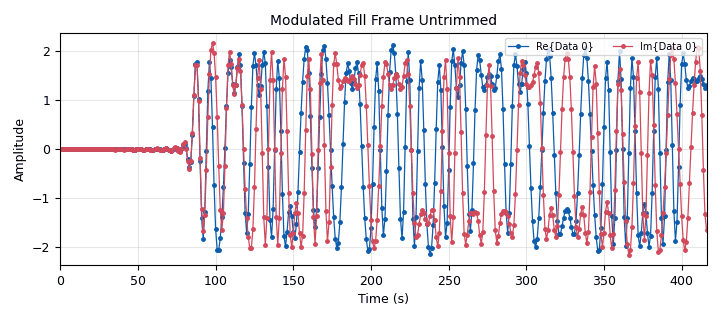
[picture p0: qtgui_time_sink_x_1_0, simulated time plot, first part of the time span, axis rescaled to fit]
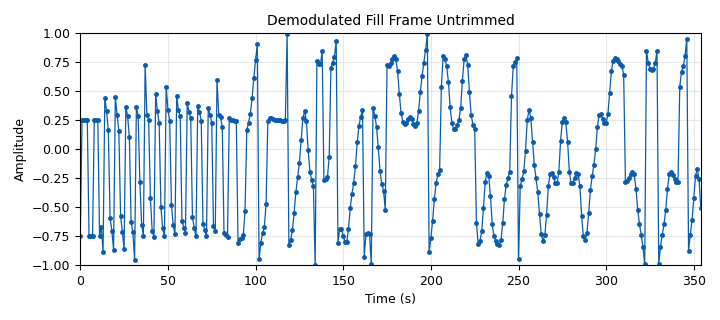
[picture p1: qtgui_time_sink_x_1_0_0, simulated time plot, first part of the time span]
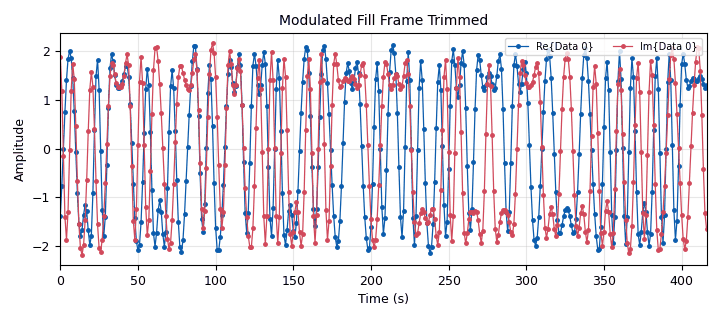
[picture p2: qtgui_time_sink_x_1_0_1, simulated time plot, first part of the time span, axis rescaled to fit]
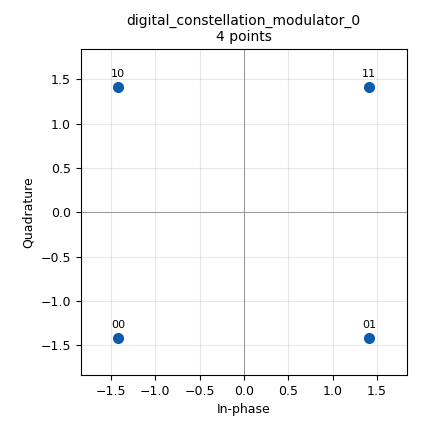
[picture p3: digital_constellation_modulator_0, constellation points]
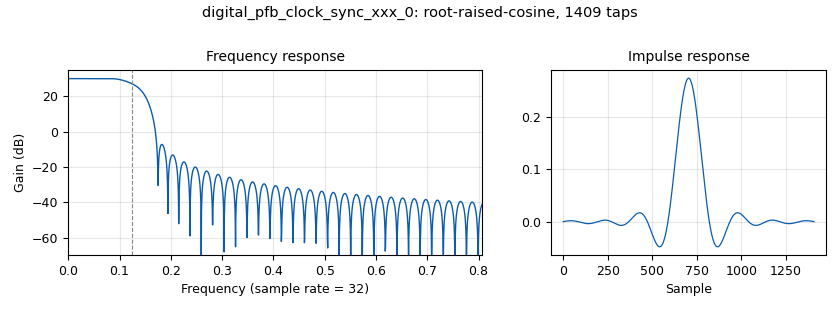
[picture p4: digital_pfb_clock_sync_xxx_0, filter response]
options:
  parameters:
    generate_options: qt_gui
    id: concatenated_qpsk_loopback
    output_language: python
  states: {}

blocks:
- name: R
  id: variable
  parameters:
    value: 1/2.
  states: {}
- name: arity
  id: variable
  parameters:
    value: 2**constel.bits_per_symbol()
  states: {}
- name: bps
  id: variable
  parameters:
    value: constel.bits_per_symbol()
  states: {}
- name: constel
  id: variable_constellation
  parameters:
    const_points: digital.psk_2()[0]
    precision: '8'
    soft_dec_lut: '''auto'''
    sym_map: digital.psk_2()[1]
    type: qpsk
  states: {}
- name: corr_sequence
  id: variable
  parameters:
    value: ((0.7071070075035095+0.7071070075035095j), (0.7071070075035095+0.7071070075035095j), (0.7071070075035095-0.7071070075035095j), (-0.7071070075035095+0.7071070075035095j), (-0.7071070075035095+0.7071070075035095j), (-0.7071070075035095+0.7071070075035095j), (-0.7071070075035095+0.7071070075035095j), (-0.7071070075035095-0.7071070075035095j), (0.7071070075035095+0.7071070075035095j), (-0.7071070075035095-0.7071070075035095j), (-0.7071070075035095-0.7071070075035095j), (0.7071070075035095+0.7071070075035095j), (0.7071070075035095+0.7071070075035095j), (-0.7071070075035095-0.7071070075035095j), (0.7071070075035095+0.7071070075035095j), (-0.7071070075035095+0.7071070075035095j), (-0.7071070075035095+0.7071070075035095j), (-0.7071070075035095-0.7071070075035095j), (-0.7071070075035095-0.7071070075035095j), (-0.7071070075035095-0.7071070075035095j), (0.7071070075035095-0.7071070075035095j), (-0.7071070075035095+0.7071070075035095j), (0.7071070075035095+0.7071070075035095j), (0.7071070075035095-0.7071070075035095j))
  states: {}
- name: corr_sequence_nodiff
  id: variable
  parameters:
    value: ((0.7071070075035095-0.7071070075035095j), (-0.7071070075035095-0.7071070075035095j), (-0.7071070075035095+0.7071070075035095j), (0.7071070075035095-0.7071070075035095j), (0.7071070075035095+0.7071070075035095j), (-0.7071070075035095-0.7071070075035095j), (-0.7071070075035095-0.7071070075035095j), (-0.7071070075035095+0.7071070075035095j), (0.7071070075035095-0.7071070075035095j), (-0.7071070075035095-0.7071070075035095j), (0.7071070075035095+0.7071070075035095j), (0.7071070075035095+0.7071070075035095j), (0.7071070075035095+0.7071070075035095j), (0.7071070075035095+0.7071070075035095j), (-0.7071070075035095-0.7071070075035095j), (-0.7071070075035095+0.7071070075035095j), (0.7071070075035095-0.7071070075035095j), (-0.7071070075035095+0.7071070075035095j), (-0.7071070075035095+0.7071070075035095j), (-0.7071070075035095-0.7071070075035095j), (0.7071070075035095-0.7071070075035095j), (-0.7071070075035095+0.7071070075035095j), (-0.7071070075035095+0.7071070075035095j), (0.7071070075035095+0.7071070075035095j))
  states: {}
- name: decoder_variable
  id: variable_cc_decoder_def
  parameters:
    framebits: 1279*0+80
    k: '7'
    mode: fec.CC_STREAMING
    ndim: '0'
    padding: 'False'
    polys: '[epy_tools.reverse_bits(0o171), epy_tools.reverse_bits(0o133)]'
    rate: int(1/R)
    state_end: '0'
    state_start: '0'
  states: {}
- name: delay
  id: variable_qtgui_range
  parameters:
    gui_hint: gui@0:2,1,1,1
    label: Delay
    rangeType: int
    start: '0'
    step: '1'
    stop: '200'
    value: '0'
  states: {}
- name: eb
  id: variable
  parameters:
    value: '0.35'
  states: {}
- name: enc_idle_frame_len
  id: variable
  parameters:
    value: len(encoded_concat_idle_frame_nodiff)
  states: {}
- name: encoded_concat_idle_frame
  id: variable
  parameters:
    value: encoded_concat_idle_frame_raw
  states: {}
- name: encoded_concat_idle_frame_nodiff
  id: variable
  parameters:
    value: encoded_concat_idle_frame_nodiff_raw
  states: {}
- name: encoded_concat_idle_frame_nodiff_raw
  id: variable
  parameters:
    value: (206, 63, 29, 152, 28, 218, 254, 27, 236, 65, 157, 23, 81, 250, 82, 133, 132, 198, 36, 229, 247, 173, 220, 138, 70, 171, 168, 215, 1, 66, 226, 193, 18, 90, 113, 86, 204, 237, 3, 127, 214, 67, 160, 35, 211, 72, 43, 39, 154, 33, 238, 124, 169, 149, 227, 131, 240, 155, 99, 12, 189, 187, 207, 146, 213, 60, 118, 96, 115, 107, 248, 111, 177, 6, 116, 93, 71, 233, 74, 22, 19, 24, 147, 151, 222, 183, 114, 41, 26, 174, 163, 92, 5, 11, 139, 4, 73, 105, 197, 91, 51, 180, 13, 255, 89, 14, 128, 143, 77, 32, 172, 158, 104, 135, 185, 242, 166, 87, 142, 15, 194, 109, 140, 50, 246, 239, 62, 75, 84, 241, 217, 129, 205, 175, 225, 190, 196, 25, 209, 117, 31, 165, 40, 88, 76, 98, 78, 95, 122, 221, 200, 164, 106, 186, 141, 112, 20, 46, 44, 17, 37, 167, 21, 108, 206, 208, 55, 253, 100, 58, 2, 61, 52, 130, 178, 121, 162, 30, 231, 202, 153, 94, 56, 63, 9, 182, 48, 203, 219, 188, 249, 45, 83, 199, 102, 7, 54, 191, 134, 251, 16, 103, 69, 212, 126, 148, 161, 97, 49, 137, 57, 125, 235, 119, 34, 145, 170, 234, 53, 192, 80, 184, 176, 68, 150, 156, 85, 179, 59, 64, 223, 245, 144, 232, 8, 244, 210, 10, 201, 230, 136, 123, 159, 42, 101, 120, 224, 252, 38, 216, 195, 47, 110, 243, 228, 181, 79, 29, 152, 28, 218, 254, 27, 236, 65, 157, 23, 81, 250, 82, 133, 132, 198, 36, 229, 247, 173, 220, 138, 70, 171, 168, 215, 1, 66, 226, 193, 18, 90, 113, 86, 204, 237, 3, 127, 214, 67, 160, 35, 211, 72, 43, 39, 154, 33, 238, 124, 169, 149, 227, 131, 240, 155, 99, 12, 189, 187, 207, 146, 213, 60, 118, 96, 115, 107, 248, 111, 177, 6, 116, 93, 71, 233, 74, 22, 19, 24, 147, 151, 222, 183, 114, 41, 26, 174, 163, 92, 5, 11, 139, 4, 73, 105, 197, 91, 51, 180, 13, 255, 89, 14, 128, 143, 77, 32, 172, 158, 104, 135, 185, 242, 166, 87, 142, 15, 194, 109, 140, 50, 246, 239, 62, 75, 84, 241, 217, 129, 205, 175, 225, 190, 196, 25, 209, 117, 31, 165, 40, 88, 76, 98, 78, 95, 122, 221, 200, 164, 106, 186, 141, 112, 20, 46, 44, 17, 37, 167, 21, 108, 206, 208, 55, 253, 100, 58, 2, 61, 52, 130, 178, 121, 162, 30, 231, 202, 153, 94, 56, 63, 9, 182, 48, 203, 219, 188, 249, 45, 83, 199, 102, 7, 54, 191, 134, 251, 16, 103, 69, 212, 126, 148, 161, 97, 49, 137, 57, 125, 235, 119, 34, 145, 170, 234, 53, 192, 80, 184, 176, 68, 150, 156, 85, 179, 59, 64, 223, 245, 144, 232, 8, 244, 210, 10, 201, 230, 136, 123, 159, 42, 101, 120, 224, 252, 38, 216, 195, 47, 110, 243, 228, 181, 79, 29, 152, 28, 218, 254, 27, 236, 65, 157, 23, 81, 250, 82, 133, 132, 198, 36, 229, 247, 173, 220, 138, 70, 171, 168, 215, 1, 66, 226, 193, 18, 90, 113, 86, 204, 237, 3, 127, 214, 67, 160, 35, 211, 72, 43, 39, 154, 33, 238, 124, 169, 149, 227, 131, 240, 155, 99, 12, 189, 187, 207, 146, 213, 60, 118, 96, 115, 107, 248, 111, 177, 6, 116, 93, 71, 233, 74, 22, 19, 24, 147, 151, 222, 183, 114, 41, 26, 174, 163, 92, 5, 11, 139, 4, 73, 105, 197, 91, 51, 180, 13, 255, 89, 14, 128, 143, 77, 32, 172, 158, 104, 135, 185, 242, 166, 87, 142, 15, 194, 109, 140, 50, 246, 239, 62, 75, 84, 241, 217, 129, 205, 175, 225, 190, 196, 25, 209, 117, 31, 165, 40, 88, 76, 98, 78, 95, 122, 221, 200, 164, 106, 186, 141, 112, 20, 46, 44, 17, 37, 167, 21, 108, 206, 208, 55, 253, 100, 58, 2, 61, 52, 130, 178, 121, 162, 30, 231, 202, 153, 94, 56, 63, 9, 182, 48, 203, 219, 188, 249, 45, 83, 199, 102, 7, 54, 191, 134, 251, 16, 103, 69, 212, 126, 148, 161, 97, 49, 137, 57, 125, 235, 119, 34, 145, 170, 234, 53, 192, 80, 184, 176, 68, 150, 156, 85, 179, 59, 64, 223, 245, 144, 232, 8, 244, 210, 10, 201, 230, 136, 123, 159, 42, 101, 120, 224, 252, 38, 216, 195, 47, 110, 243, 228, 181, 79, 29, 152, 28, 218, 254, 27, 236, 65, 157, 23, 81, 250, 82, 133, 132, 198, 36, 229, 247, 173, 220, 138, 70, 171, 168, 215, 1, 66, 226, 193, 18, 90, 113, 86, 204, 237, 3, 127, 214, 67, 160, 35, 211, 72, 43, 39, 154, 33, 238, 124, 169, 149, 227, 131, 240, 155, 99, 12, 189, 187, 207, 146, 213, 60, 118, 96, 115, 107, 248, 111, 177, 6, 116, 93, 71, 233, 74, 22, 19, 24, 147, 151, 222, 183, 114, 41, 26, 174, 163, 92, 5, 11, 139, 4, 73, 105, 197, 91, 51, 180, 13, 255, 89, 14, 128, 143, 77, 32, 172, 158, 104, 135, 185, 242, 166, 87, 142, 15, 194, 109, 140, 50, 246, 239, 62, 75, 84, 241, 217, 129, 205, 175, 225, 190, 196, 25, 209, 117, 31, 165, 40, 88, 76, 98, 78, 95, 122, 221, 200, 164, 106, 186, 141, 112, 20, 46, 44, 17, 37, 167, 21, 108, 206, 208, 55, 253, 100, 58, 2, 61, 52, 130, 178, 121, 162, 30, 231, 202, 153, 94, 56, 63, 9, 182, 48, 203, 219, 188, 249, 45, 83, 199, 102, 7, 54, 191, 134, 251, 16, 103, 69, 212, 126, 148, 161, 97, 49, 137, 57, 125, 235, 119, 34, 145, 170, 234, 53, 192, 80, 184, 176, 68, 150, 156, 85, 179, 59, 64, 223, 245, 144, 232, 8, 244, 210, 10, 201, 230, 136, 123, 159, 42, 101, 120, 224, 252, 38, 216, 195, 47, 110, 243, 228, 181, 79, 29, 152, 28, 218, 254, 27, 236, 65, 157, 23, 81, 250, 82, 133, 132, 198, 36, 229, 247, 173, 220, 138, 70, 171, 168, 215, 1, 66, 226, 193, 18, 90, 113, 86, 204, 237, 3, 127, 214, 67, 160, 35, 211, 72, 43, 39, 154, 33, 238, 124, 169, 149, 227, 131, 240, 155, 99, 12, 189, 187, 207, 146, 213, 60, 118, 96, 115, 107, 248, 111, 177, 6, 116, 93, 71, 233, 74, 22, 19, 24, 147, 151, 222, 183, 114, 41, 26, 174, 163, 92, 5, 11, 139, 4, 73, 105, 197, 91, 51, 180, 13, 255, 89, 14, 128, 143, 77, 32, 172, 158, 104, 135, 185, 242, 166, 87, 142, 15, 194, 109, 140, 50, 246, 239, 62, 75, 84, 241, 217, 129, 205, 175, 225, 190, 196, 25, 209, 117, 31, 165, 40, 88, 76, 98, 78, 95, 122, 221, 200, 164, 106, 186, 141, 112, 20, 46, 44, 17, 37, 167, 21, 108, 206, 208, 55, 253, 100, 58, 2, 61, 52, 130, 178, 121, 162, 30, 231, 202, 153, 94, 56, 63, 9, 182, 48, 203, 219, 188, 249, 45, 83, 199, 102, 7, 54, 191, 134, 251, 16, 103, 69, 212, 126, 148, 161, 97, 49, 137, 57, 125, 235, 119, 34, 145, 170, 234, 53, 192, 80, 184, 176, 68, 150, 156, 85, 179, 59, 64, 223, 245, 144, 232, 8, 244, 210, 10, 201, 230, 136, 123, 159, 42, 101, 120, 224, 252, 38, 216, 195, 47, 110, 243, 228, 181, 79, 29, 152, 28, 218, 254, 27, 236, 65, 157, 23, 81, 250, 82, 133, 132, 198, 36, 229, 247, 173, 220, 138, 70, 171, 168, 215, 1, 66, 226, 193, 18, 90, 113, 86, 204, 237, 3, 127, 214, 67, 160, 35, 211, 72, 43, 39, 154, 33, 238, 124, 169, 149, 227, 131, 240, 155, 99, 12, 189, 187, 207, 146, 213, 60, 118, 96, 115, 107, 248, 111, 177, 6, 116, 93, 71, 233, 74, 22, 19, 24, 147, 151, 222, 183, 114, 41, 26, 174, 163, 92, 5, 11, 139, 4, 73, 105, 197, 91, 51, 180, 13, 255, 89, 14, 128, 143, 77, 32, 172, 158, 104, 135, 185, 242, 166, 87, 142, 15, 194, 109, 140, 50, 246, 239, 62, 75, 84, 241, 217, 129, 205, 175, 225, 190, 196, 25, 209, 117, 31, 165, 40, 88, 76, 98, 78, 95, 122, 221, 200, 164, 106, 186, 141, 112, 20, 46, 44, 17, 37, 167, 21, 108, 206, 208, 55, 253, 100, 58, 2, 61, 52, 130, 178, 121, 162, 30, 231, 202, 153, 94, 56, 63, 9, 182, 48, 203, 219, 188, 249, 45, 83, 199, 102, 7, 54, 191, 134, 251, 16, 103, 69, 212, 126, 148, 161, 97, 49, 137, 57, 125, 235, 119, 34, 145, 170, 234, 53, 192, 80, 184, 176, 68, 150, 156, 85, 179, 59, 64, 223, 245, 144, 232, 8, 244, 210, 10, 201, 230, 136, 123, 159, 42, 101, 120, 224, 252, 38, 216, 195, 47, 110, 243, 228, 181, 79, 29, 152, 28, 218, 254, 27, 236, 65, 157, 23, 81, 250, 82, 133, 132, 198, 36, 229, 247, 173, 220, 138, 70, 171, 168, 215, 1, 66, 226, 193, 18, 90, 113, 86, 204, 237, 3, 127, 214, 67, 160, 35, 211, 72, 43, 39, 154, 33, 238, 124, 169, 149, 227, 131, 240, 155, 99, 12, 189, 187, 207, 146, 213, 60, 118, 96, 115, 107, 248, 111, 177, 6, 116, 93, 71, 233, 74, 22, 19, 24, 147, 151, 222, 183, 114, 41, 26, 174, 163, 92, 5, 11, 139, 4, 73, 105, 197, 91, 51, 180, 13, 255, 89, 14, 128, 143, 77, 32, 172, 158, 104, 135, 185, 242, 166, 87, 142, 15, 194, 109, 140, 50, 246, 239, 62, 75, 84, 241, 217, 129, 205, 175, 225, 190, 196, 25, 209, 117, 31, 165, 40, 88, 76, 98, 78, 95, 122, 221, 200, 164, 106, 186, 141, 112, 20, 46, 44, 17, 37, 167, 21, 108, 206, 208, 55, 253, 100, 58, 2, 61, 52, 130, 178, 121, 162, 30, 231, 202, 153, 94, 56, 63, 9, 182, 48, 203, 219, 188, 249, 45, 83, 199, 102, 7, 54, 191, 134, 251, 16, 103, 69, 212, 126, 148, 161, 97, 49, 137, 57, 125, 235, 119, 34, 145, 170, 234, 53, 192, 80, 184, 176, 68, 150, 156, 85, 179, 59, 64, 223, 245, 144, 232, 8, 244, 210, 10, 201, 230, 136, 123, 159, 42, 101, 120, 224, 252, 38, 216, 195, 47, 110, 243, 228, 181, 79, 29, 152, 28, 218, 254, 27, 236, 65, 157, 23, 81, 250, 82, 133, 132, 198, 36, 229, 247, 173, 220, 138, 70, 171, 168, 215, 1, 66, 226, 193, 18, 90, 113, 86, 204, 237, 3, 127, 214, 67, 160, 35, 211, 72, 43, 39, 154, 33, 238, 124, 169, 149, 227, 131, 240, 155, 99, 12, 189, 187, 207, 146, 213, 60, 118, 96, 115, 107, 248, 111, 177, 6, 116, 93, 71, 233, 74, 22, 19, 24, 147, 151, 222, 183, 114, 41, 26, 174, 163, 92, 5, 11, 139, 4, 73, 105, 197, 91, 51, 180, 13, 255, 89, 14, 128, 143, 77, 32, 172, 158, 104, 135, 185, 242, 166, 87, 142, 15, 194, 109, 140, 50, 246, 239, 62, 75, 84, 241, 217, 129, 205, 175, 225, 190, 196, 25, 209, 117, 31, 165, 40, 88, 76, 98, 78, 95, 122, 221, 200, 164, 106, 186, 141, 112, 20, 46, 44, 17, 37, 167, 21, 108, 206, 208, 55, 253, 100, 58, 2, 61, 52, 130, 178, 121, 162, 30, 231, 202, 153, 94, 56, 63, 9, 182, 48, 203, 219, 188, 249, 45, 83, 199, 102, 7, 54, 191, 134, 251, 16, 103, 69, 212, 126, 148, 161, 97, 49, 137, 57, 125, 235, 119, 34, 145, 170, 234, 53, 192, 80, 184, 176, 68, 150, 156, 85, 179, 59, 64, 223, 245, 144, 232, 8, 244, 210, 10, 201, 230, 136, 123, 159, 42, 101, 120, 224, 252, 38, 216, 195, 47, 110, 243, 228, 181, 79, 29, 152, 28, 218, 254, 27, 236, 65, 157, 23, 81, 250, 82, 133, 132, 198, 36, 229, 247, 173, 220, 138, 70, 171, 168, 215, 1, 66, 226, 193, 18, 90, 113, 86, 204, 237, 3, 127, 214, 67, 160, 35, 211, 72, 43, 39, 154, 33, 238, 124, 169, 149, 227, 131, 240, 155, 99, 12, 189, 187, 207, 146, 213, 60, 118, 96, 115, 107, 248, 111, 177, 6, 116, 93, 71, 233, 74, 22, 19, 24, 147, 151, 222, 183, 114, 41, 26, 174, 163, 92, 5, 11, 139, 4, 73, 105, 197, 91, 51, 180, 13, 255, 89, 14, 128, 143, 77, 32, 172, 158, 104, 135, 185, 242, 166, 87, 142, 15, 194, 109, 140, 50, 246, 239, 62, 75, 84, 241, 217, 129, 205, 175, 225, 190, 196, 25, 209, 117, 31, 165, 40, 88, 76, 98, 78, 95, 122, 221, 200, 164, 106, 186, 141, 112, 20, 46, 44, 17, 37, 167, 21, 108, 206, 208, 55, 253, 100, 58, 2, 61, 52, 130, 178, 121, 162, 30, 231, 202, 153, 94, 56, 63, 9, 182, 48, 203, 219, 188, 249, 45, 83, 199, 102, 7, 54, 191, 134, 251, 16, 103, 69, 212, 126, 148, 161, 97, 49, 137, 57, 125, 235, 119, 34, 145, 170, 234, 53, 192, 80, 184, 176, 68, 150, 156, 85, 179, 59, 64, 223, 245, 144, 232, 8, 244, 210, 10, 201, 230, 136, 123, 159, 42, 101, 120, 224, 252, 38, 216, 195, 47, 110, 243, 228, 181, 79, 29, 152, 28, 218, 254, 27, 236, 65, 157, 23, 81, 250, 82, 133, 132, 198, 36, 229, 247, 173, 220, 138, 70, 171, 168, 215, 1, 66, 226, 193, 18, 90, 113, 86, 204, 237, 3, 127, 214, 67, 160, 35, 211, 72, 43, 39, 154, 33, 238, 124, 169, 149, 227, 131, 240, 155, 99, 12, 189, 187, 207, 146, 213, 60, 118, 96, 115, 107, 248, 111, 177, 6, 116, 93, 71, 233, 74, 22, 19, 24, 147, 151, 222, 183, 114, 41, 26, 174, 163, 92, 5, 11, 139, 4, 73, 105, 197, 91, 51, 180, 13, 255, 89, 14, 128, 143, 77, 32, 172, 158, 104, 135, 185, 242, 166, 87, 142, 15, 194, 109, 140, 50, 246, 239, 62, 75, 84, 241, 217, 129, 205, 175, 225, 190, 196, 25, 209, 117, 31, 165, 40, 88, 76, 98, 78, 95, 122, 221, 200, 164, 106, 186, 141, 112, 20, 46, 44, 17, 37, 167, 21, 108, 206, 208, 55, 253, 100, 58, 2, 61, 52, 130, 178, 121, 162, 30, 231, 202, 153, 94, 56, 63, 9, 182, 48, 203, 219, 188, 249, 45, 83, 199, 102, 7, 54, 191, 134, 251, 16, 103, 69, 212, 126, 148, 161, 97, 49, 137, 57, 125, 235, 119, 34, 145, 170, 234, 53, 192, 80, 184, 176, 68, 150, 156, 85, 179, 59, 64, 223, 245, 144, 232, 8, 244, 210, 10, 201, 230, 136, 123, 159, 42, 101, 120, 224, 252, 38, 216, 195, 47, 110, 243, 228, 111, 93, 73, 194, 79, 242, 104, 107)
  states: {}
- name: encoded_concat_idle_frame_raw
  id: variable
  parameters:
    value: (31, 195, 47, 110, 243, 228, 181, 79, 29, 152, 28, 218, 254, 27, 236, 65, 157, 23, 81, 250, 82, 133, 132, 198, 36, 229, 247, 173, 220, 138, 70, 171, 168, 215, 1, 66, 226, 193, 18, 90, 113, 86, 204, 237, 3, 127, 214, 67, 160, 35, 211, 72, 43, 39, 154, 33, 238, 124, 169, 149, 227, 131, 240, 155, 99, 12, 189, 187, 207, 146, 213, 60, 118, 96, 115, 107, 248, 111, 177, 6, 116, 93, 71, 233, 74, 22, 19, 24, 147, 151, 222, 183, 114, 41, 26, 174, 163, 92, 5, 11, 139, 4, 73, 105, 197, 91, 51, 180, 13, 255, 89, 14, 128, 143, 77, 32, 172, 158, 104, 135, 185, 242, 166, 87, 142, 15, 194, 109, 140, 50, 246, 239, 62, 75, 84, 241, 217, 129, 205, 175, 225, 190, 196, 25, 209, 117, 31, 165, 40, 88, 76, 98, 78, 95, 122, 221, 200, 164, 106, 186, 141, 112, 20, 46, 44, 17, 37, 167, 21, 108, 206, 208, 55, 253, 100, 58, 2, 61, 52, 130, 178, 121, 162, 30, 231, 202, 153, 94, 56, 63, 9, 182, 48, 203, 219, 188, 249, 45, 83, 199, 102, 7, 54, 191, 134, 251, 16, 103, 69, 212, 126, 148, 161, 97, 49, 137, 57, 125, 235, 119, 34, 145, 170, 234, 53, 192, 80, 184, 176, 68, 150, 156, 85, 179, 59, 64, 223, 245, 144, 232, 8, 244, 210, 10, 201, 230, 136, 123, 159, 42, 101, 120, 224, 252, 38, 216, 195, 47, 110, 243, 228, 181, 79, 29, 152, 28, 218, 254, 27, 236, 65, 157, 23, 81, 250, 82, 133, 132, 198, 36, 229, 247, 173, 220, 138, 70, 171, 168, 215, 1, 66, 226, 193, 18, 90, 113, 86, 204, 237, 3, 127, 214, 67, 160, 35, 211, 72, 43, 39, 154, 33, 238, 124, 169, 149, 227, 131, 240, 155, 99, 12, 189, 187, 207, 146, 213, 60, 118, 96, 115, 107, 248, 111, 177, 6, 116, 93, 71, 233, 74, 22, 19, 24, 147, 151, 222, 183, 114, 41, 26, 174, 163, 92, 5, 11, 139, 4, 73, 105, 197, 91, 51, 180, 13, 255, 89, 14, 128, 143, 77, 32, 172, 158, 104, 135, 185, 242, 166, 87, 142, 15, 194, 109, 140, 50, 246, 239, 62, 75, 84, 241, 217, 129, 205, 175, 225, 190, 196, 25, 209, 117, 31, 165, 40, 88, 76, 98, 78, 95, 122, 221, 200, 164, 106, 186, 141, 112, 20, 46, 44, 17, 37, 167, 21, 108, 206, 208, 55, 253, 100, 58, 2, 61, 52, 130, 178, 121, 162, 30, 231, 202, 153, 94, 56, 63, 9, 182, 48, 203, 219, 188, 249, 45, 83, 199, 102, 7, 54, 191, 134, 251, 16, 103, 69, 212, 126, 148, 161, 97, 49, 137, 57, 125, 235, 119, 34, 145, 170, 234, 53, 192, 80, 184, 176, 68, 150, 156, 85, 179, 59, 64, 223, 245, 144, 232, 8, 244, 210, 10, 201, 230, 136, 123, 159, 42, 101, 120, 224, 252, 38, 216, 195, 47, 110, 243, 228, 181, 79, 29, 152, 28, 218, 254, 27, 236, 65, 157, 23, 81, 250, 82, 133, 132, 198, 36, 229, 247, 173, 220, 138, 70, 171, 168, 215, 1, 66, 226, 193, 18, 90, 113, 86, 204, 237, 3, 127, 214, 67, 160, 35, 211, 72, 43, 39, 154, 33, 238, 124, 169, 149, 227, 131, 240, 155, 99, 12, 189, 187, 207, 146, 213, 60, 118, 96, 115, 107, 248, 111, 177, 6, 116, 93, 71, 233, 74, 22, 19, 24, 147, 151, 222, 183, 114, 41, 26, 174, 163, 92, 5, 11, 139, 4, 73, 105, 197, 91, 51, 180, 13, 255, 89, 14, 128, 143, 77, 32, 172, 158, 104, 135, 185, 242, 166, 87, 142, 15, 194, 109, 140, 50, 246, 239, 62, 75, 84, 241, 217, 129, 205, 175, 225, 190, 196, 25, 209, 117, 31, 165, 40, 88, 76, 98, 78, 95, 122, 221, 200, 164, 106, 186, 141, 112, 20, 46, 44, 17, 37, 167, 21, 108, 206, 208, 55, 253, 100, 58, 2, 61, 52, 130, 178, 121, 162, 30, 231, 202, 153, 94, 56, 63, 9, 182, 48, 203, 219, 188, 249, 45, 83, 199, 102, 7, 54, 191, 134, 251, 16, 103, 69, 212, 126, 148, 161, 97, 49, 137, 57, 125, 235, 119, 34, 145, 170, 234, 53, 192, 80, 184, 176, 68, 150, 156, 85, 179, 59, 64, 223, 245, 144, 232, 8, 244, 210, 10, 201, 230, 136, 123, 159, 42, 101, 120, 224, 252, 38, 216, 195, 47, 110, 243, 228, 181, 79, 29, 152, 28, 218, 254, 27, 236, 65, 157, 23, 81, 250, 82, 133, 132, 198, 36, 229, 247, 173, 220, 138, 70, 171, 168, 215, 1, 66, 226, 193, 18, 90, 113, 86, 204, 237, 3, 127, 214, 67, 160, 35, 211, 72, 43, 39, 154, 33, 238, 124, 169, 149, 227, 131, 240, 155, 99, 12, 189, 187, 207, 146, 213, 60, 118, 96, 115, 107, 248, 111, 177, 6, 116, 93, 71, 233, 74, 22, 19, 24, 147, 151, 222, 183, 114, 41, 26, 174, 163, 92, 5, 11, 139, 4, 73, 105, 197, 91, 51, 180, 13, 255, 89, 14, 128, 143, 77, 32, 172, 158, 104, 135, 185, 242, 166, 87, 142, 15, 194, 109, 140, 50, 246, 239, 62, 75, 84, 241, 217, 129, 205, 175, 225, 190, 196, 25, 209, 117, 31, 165, 40, 88, 76, 98, 78, 95, 122, 221, 200, 164, 106, 186, 141, 112, 20, 46, 44, 17, 37, 167, 21, 108, 206, 208, 55, 253, 100, 58, 2, 61, 52, 130, 178, 121, 162, 30, 231, 202, 153, 94, 56, 63, 9, 182, 48, 203, 219, 188, 249, 45, 83, 199, 102, 7, 54, 191, 134, 251, 16, 103, 69, 212, 126, 148, 161, 97, 49, 137, 57, 125, 235, 119, 34, 145, 170, 234, 53, 192, 80, 184, 176, 68, 150, 156, 85, 179, 59, 64, 223, 245, 144, 232, 8, 244, 210, 10, 201, 230, 136, 123, 159, 42, 101, 120, 224, 252, 38, 216, 195, 47, 110, 243, 228, 181, 79, 29, 152, 28, 218, 254, 27, 236, 65, 157, 23, 81, 250, 82, 133, 132, 198, 36, 229, 247, 173, 220, 138, 70, 171, 168, 215, 1, 66, 226, 193, 18, 90, 113, 86, 204, 237, 3, 127, 214, 67, 160, 35, 211, 72, 43, 39, 154, 33, 238, 124, 169, 149, 227, 131, 240, 155, 99, 12, 189, 187, 207, 146, 213, 60, 118, 96, 115, 107, 248, 111, 177, 6, 116, 93, 71, 233, 74, 22, 19, 24, 147, 151, 222, 183, 114, 41, 26, 174, 163, 92, 5, 11, 139, 4, 73, 105, 197, 91, 51, 180, 13, 255, 89, 14, 128, 143, 77, 32, 172, 158, 104, 135, 185, 242, 166, 87, 142, 15, 194, 109, 140, 50, 246, 239, 62, 75, 84, 241, 217, 129, 205, 175, 225, 190, 196, 25, 209, 117, 31, 165, 40, 88, 76, 98, 78, 95, 122, 221, 200, 164, 106, 186, 141, 112, 20, 46, 44, 17, 37, 167, 21, 108, 206, 208, 55, 253, 100, 58, 2, 61, 52, 130, 178, 121, 162, 30, 231, 202, 153, 94, 56, 63, 9, 182, 48, 203, 219, 188, 249, 45, 83, 199, 102, 7, 54, 191, 134, 251, 16, 103, 69, 212, 126, 148, 161, 97, 49, 137, 57, 125, 235, 119, 34, 145, 170, 234, 53, 192, 80, 184, 176, 68, 150, 156, 85, 179, 59, 64, 223, 245, 144, 232, 8, 244, 210, 10, 201, 230, 136, 123, 159, 42, 101, 120, 224, 252, 38, 216, 195, 47, 110, 243, 228, 181, 79, 29, 152, 28, 218, 254, 27, 236, 65, 157, 23, 81, 250, 82, 133, 132, 198, 36, 229, 247, 173, 220, 138, 70, 171, 168, 215, 1, 66, 226, 193, 18, 90, 113, 86, 204, 237, 3, 127, 214, 67, 160, 35, 211, 72, 43, 39, 154, 33, 238, 124, 169, 149, 227, 131, 240, 155, 99, 12, 189, 187, 207, 146, 213, 60, 118, 96, 115, 107, 248, 111, 177, 6, 116, 93, 71, 233, 74, 22, 19, 24, 147, 151, 222, 183, 114, 41, 26, 174, 163, 92, 5, 11, 139, 4, 73, 105, 197, 91, 51, 180, 13, 255, 89, 14, 128, 143, 77, 32, 172, 158, 104, 135, 185, 242, 166, 87, 142, 15, 194, 109, 140, 50, 246, 239, 62, 75, 84, 241, 217, 129, 205, 175, 225, 190, 196, 25, 209, 117, 31, 165, 40, 88, 76, 98, 78, 95, 122, 221, 200, 164, 106, 186, 141, 112, 20, 46, 44, 17, 37, 167, 21, 108, 206, 208, 55, 253, 100, 58, 2, 61, 52, 130, 178, 121, 162, 30, 231, 202, 153, 94, 56, 63, 9, 182, 48, 203, 219, 188, 249, 45, 83, 199, 102, 7, 54, 191, 134, 251, 16, 103, 69, 212, 126, 148, 161, 97, 49, 137, 57, 125, 235, 119, 34, 145, 170, 234, 53, 192, 80, 184, 176, 68, 150, 156, 85, 179, 59, 64, 223, 245, 144, 232, 8, 244, 210, 10, 201, 230, 136, 123, 159, 42, 101, 120, 224, 252, 38, 216, 195, 47, 110, 243, 228, 181, 79, 29, 152, 28, 218, 254, 27, 236, 65, 157, 23, 81, 250, 82, 133, 132, 198, 36, 229, 247, 173, 220, 138, 70, 171, 168, 215, 1, 66, 226, 193, 18, 90, 113, 86, 204, 237, 3, 127, 214, 67, 160, 35, 211, 72, 43, 39, 154, 33, 238, 124, 169, 149, 227, 131, 240, 155, 99, 12, 189, 187, 207, 146, 213, 60, 118, 96, 115, 107, 248, 111, 177, 6, 116, 93, 71, 233, 74, 22, 19, 24, 147, 151, 222, 183, 114, 41, 26, 174, 163, 92, 5, 11, 139, 4, 73, 105, 197, 91, 51, 180, 13, 255, 89, 14, 128, 143, 77, 32, 172, 158, 104, 135, 185, 242, 166, 87, 142, 15, 194, 109, 140, 50, 246, 239, 62, 75, 84, 241, 217, 129, 205, 175, 225, 190, 196, 25, 209, 117, 31, 165, 40, 88, 76, 98, 78, 95, 122, 221, 200, 164, 106, 186, 141, 112, 20, 46, 44, 17, 37, 167, 21, 108, 206, 208, 55, 253, 100, 58, 2, 61, 52, 130, 178, 121, 162, 30, 231, 202, 153, 94, 56, 63, 9, 182, 48, 203, 219, 188, 249, 45, 83, 199, 102, 7, 54, 191, 134, 251, 16, 103, 69, 212, 126, 148, 161, 97, 49, 137, 57, 125, 235, 119, 34, 145, 170, 234, 53, 192, 80, 184, 176, 68, 150, 156, 85, 179, 59, 64, 223, 245, 144, 232, 8, 244, 210, 10, 201, 230, 136, 123, 159, 42, 101, 120, 224, 252, 38, 216, 195, 47, 110, 243, 228, 181, 79, 29, 152, 28, 218, 254, 27, 236, 65, 157, 23, 81, 250, 82, 133, 132, 198, 36, 229, 247, 173, 220, 138, 70, 171, 168, 215, 1, 66, 226, 193, 18, 90, 113, 86, 204, 237, 3, 127, 214, 67, 160, 35, 211, 72, 43, 39, 154, 33, 238, 124, 169, 149, 227, 131, 240, 155, 99, 12, 189, 187, 207, 146, 213, 60, 118, 96, 115, 107, 248, 111, 177, 6, 116, 93, 71, 233, 74, 22, 19, 24, 147, 151, 222, 183, 114, 41, 26, 174, 163, 92, 5, 11, 139, 4, 73, 105, 197, 91, 51, 180, 13, 255, 89, 14, 128, 143, 77, 32, 172, 158, 104, 135, 185, 242, 166, 87, 142, 15, 194, 109, 140, 50, 246, 239, 62, 75, 84, 241, 217, 129, 205, 175, 225, 190, 196, 25, 209, 117, 31, 165, 40, 88, 76, 98, 78, 95, 122, 221, 200, 164, 106, 186, 141, 112, 20, 46, 44, 17, 37, 167, 21, 108, 206, 208, 55, 253, 100, 58, 2, 61, 52, 130, 178, 121, 162, 30, 231, 202, 153, 94, 56, 63, 9, 182, 48, 203, 219, 188, 249, 45, 83, 199, 102, 7, 54, 191, 134, 251, 16, 103, 69, 212, 126, 148, 161, 97, 49, 137, 57, 125, 235, 119, 34, 145, 170, 234, 53, 192, 80, 184, 176, 68, 150, 156, 85, 179, 59, 64, 223, 245, 144, 232, 8, 244, 210, 10, 201, 230, 136, 123, 159, 42, 101, 120, 224, 252, 38, 216, 195, 47, 110, 243, 228, 181, 79, 29, 152, 28, 218, 254, 27, 236, 65, 157, 23, 81, 250, 82, 133, 132, 198, 36, 229, 247, 173, 220, 138, 70, 171, 168, 215, 1, 66, 226, 193, 18, 90, 113, 86, 204, 237, 3, 127, 214, 67, 160, 35, 211, 72, 43, 39, 154, 33, 238, 124, 169, 149, 227, 131, 240, 155, 99, 12, 189, 187, 207, 146, 213, 60, 118, 96, 115, 107, 248, 111, 177, 6, 116, 93, 71, 233, 74, 22, 19, 24, 147, 151, 222, 183, 114, 41, 26, 174, 163, 92, 5, 11, 139, 4, 73, 105, 197, 91, 51, 180, 13, 255, 89, 14, 128, 143, 77, 32, 172, 158, 104, 135, 185, 242, 166, 87, 142, 15, 194, 109, 140, 50, 246, 239, 62, 75, 84, 241, 217, 129, 205, 175, 225, 190, 196, 25, 209, 117, 31, 165, 40, 88, 76, 98, 78, 95, 122, 221, 200, 164, 106, 186, 141, 112, 20, 46, 44, 17, 37, 167, 21, 108, 206, 208, 55, 253, 100, 58, 2, 61, 52, 130, 178, 121, 162, 30, 231, 202, 153, 94, 56, 63, 9, 182, 48, 203, 219, 188, 249, 45, 83, 199, 102, 7, 54, 191, 134, 251, 16, 103, 69, 212, 126, 148, 161, 97, 49, 137, 57, 125, 235, 119, 34, 145, 170, 234, 53, 192, 80, 184, 176, 68, 150, 156, 85, 179, 59, 64, 223, 245, 144, 232, 8, 244, 210, 10, 201, 230, 136, 123, 159, 42, 101, 120, 224, 252, 38, 216, 195, 47, 110, 243, 228, 181, 79, 29, 152, 28, 218, 254, 27, 236, 65, 157, 23, 81, 250, 82, 133, 132, 198, 36, 229, 247, 173, 220, 138, 70, 171, 168, 215, 1, 66, 226, 193, 18, 90, 113, 86, 204, 237, 3, 127, 214, 67, 160, 35, 211, 72, 43, 39, 154, 33, 238, 124, 169, 149, 227, 131, 240, 155, 99, 12, 189, 187, 207, 146, 213, 60, 118, 96, 115, 107, 248, 111, 177, 6, 116, 93, 71, 233, 74, 22, 19, 24, 147, 151, 222, 183, 114, 41, 26, 174, 163, 92, 5, 11, 139, 4, 73, 105, 197, 91, 51, 180, 13, 255, 89, 14, 128, 143, 77, 32, 172, 158, 104, 135, 185, 242, 166, 87, 142, 15, 194, 109, 140, 50, 246, 239, 62, 75, 84, 241, 217, 129, 205, 175, 225, 190, 196, 25, 209, 117, 31, 165, 40, 88, 76, 98, 78, 95, 122, 221, 200, 164, 106, 186, 141, 112, 20, 46, 44, 17, 37, 167, 21, 108, 206, 208, 55, 253, 100, 58, 2, 61, 52, 130, 178, 121, 162, 30, 231, 202, 153, 94, 56, 63, 9, 182, 48, 203, 219, 188, 249, 45, 83, 199, 102, 7, 54, 191, 134, 251, 16, 103, 69, 212, 126, 148, 161, 97, 49, 137, 57, 125, 235, 119, 34, 145, 170, 234, 53, 192, 80, 184, 176, 68, 150, 156, 85, 179, 59, 64, 223, 245, 144, 232, 8, 244, 210, 10, 201, 230, 136, 123, 159, 42, 101, 120, 224, 252, 38, 15, 167, 58, 100, 15, 2, 76, 161)
  states: {}
- name: encoder_variable
  id: variable_cc_encoder_def
  parameters:
    comment: |-
      Polynomials are often provided in octal.  
      The blocks generally take decimals, though.
      For example (171,133) => (121,91)
    framebits: 1279*0+80
    k: '7'
    mode: fec.CC_STREAMING
    ndim: '0'
    padding: 'False'
    polys: '[epy_tools.reverse_bits(0o171), epy_tools.reverse_bits(0o133)]'
    rate: int(1/R)
    state_start: '0'
  states: {}
- name: eq_gain
  id: variable_qtgui_range
  parameters:
    gui_hint: gui@0:3,1,1,1
    label: 'Equalizer: rate'
    start: '0.0'
    step: '0.001'
    stop: '0.1'
    value: '0.01'
  states: {}
- name: fillframes_decoded
  id: variable_function_probe
  parameters:
    block_id: ccsds_decoder
    function_name: num_fillframes_decoded
    poll_rate: '10'
    value: '0'
  states: {}
- name: fillframes_sent
  id: variable_function_probe
  parameters:
    block_id: ccsds_insert_idle_frame
    function_name: num_fillframes_added
    poll_rate: '10'
    value: '0'
  states: {}
- name: frames_decoded
  id: variable_function_probe
  parameters:
    block_id: ccsds_decoder
    function_name: num_frames_decoded
    poll_rate: '10'
    value: '0'
  states: {}
- name: frames_received
  id: variable_function_probe
  parameters:
    block_id: ccsds_decoder
    function_name: num_frames_received
    poll_rate: '10'
    value: '0'
  states: {}
- name: frames_sent
  id: variable_function_probe
  parameters:
    block_id: ccsds_encoder
    function_name: num_frames
    poll_rate: '10'
    value: '0'
  states: {}
- name: freq_offset
  id: variable_qtgui_range
  parameters:
    gui_hint: gui@0:1,2,1,1
    label: Frequency Offset
    start: '-0.1'
    step: '0.001'
    stop: '0.1'
    value: '0.001'
  states: {}
- name: mod_len
  id: variable
  parameters:
    value: len(modulated_idle_frame_trimmed_nodiff)
  states: {}
- name: modulated_idle_frame_trimmed
  id: variable
  parameters:
    comment: |-
      Skip the first modulated fill 
      frame, which is mangled by 
      filter memory.
    value: '[modulated_preamble_untrimmed[i] for i in range(enc_idle_frame_len*sps_tx//bps*8+idle_frame_shift, 2*enc_idle_frame_len*sps_tx//bps*8+idle_frame_shift)]'
  states: {}
- name: modulated_idle_frame_trimmed_nodiff
  id: variable
  parameters:
    comment: |-
      Skip the first modulated fill 
      frame, which is mangled by 
      filter memory.
    value: '[modulated_preamble_untrimmed_nodiff[i] for i in range(enc_idle_frame_len*sps_tx//bps*8+idle_frame_shift, 2*enc_idle_frame_len*sps_tx//bps*8+idle_frame_shift)]'
  states: {}
- name: modulated_preamble_untrimmed
  id: variable_modulate_vector
  parameters:
    comment: |-
      Packed bytes get modulated.
      Samples come out.
      Since we're QPSK, you get
      8*sps/bps out.

      This modulator delays the
      center of the first symbol
      by 22 samples.
    data: list(encoded_concat_idle_frame)*3
    mod: digital.generic_mod(constellation=constel,differential=False,samples_per_symbol=sps_tx,pre_diff_code=True,excess_bw=eb,verbose=False,log=False)
    taps: '[1]'
  states: {}
- name: modulated_preamble_untrimmed_nodiff
  id: variable_modulate_vector
  parameters:
    data: list(encoded_concat_idle_frame_nodiff)*3
    mod: digital.generic_mod(constellation=constel,differential=False,samples_per_symbol=sps_tx,pre_diff_code=True,excess_bw=eb,verbose=False,log=False)
    taps: '[1]'
  states: {}
- name: nfilts
  id: variable
  parameters:
    value: '32'
  states: {}
- name: noise_volt
  id: variable_qtgui_range
  parameters:
    gui_hint: gui@0:1,1,1,1
    label: 'Channel: Noise Voltage'
    start: '0'
    step: '0.01'
    stop: '1.5'
    value: '0.05'
  states: {}
- name: pad
  id: variable
  parameters:
    value: '[0]*223*5'
  states: {}
- name: phase_bw
  id: variable_qtgui_range
  parameters:
    gui_hint: gui@0:3,2,1,1
    label: 'Phase: Bandwidth'
    start: '0.0'
    step: '0.01'
    stop: '1.0'
    value: 2*pi/100.0*0+0.05
  states: {}
- name: phase_offset
  id: variable_qtgui_range
  parameters:
    gui_hint: gui@1:0,0,1,3
    label: Phase Offset
    start: '-pi'
    step: 2*pi/100.
    stop: pi
    value: pi/2.
  states: {}
- name: rrc_taps
  id: variable
  parameters:
    value: firdes.root_raised_cosine(nfilts, nfilts, 1.0/float(sps_rx), eb, 11*sps_rx*nfilts)
  states: {}
- name: rx_data_rate
  id: variable
  parameters:
    value: rx_user_data_rate/R
  states: {}
- name: rx_data_rate_sps
  id: variable
  parameters:
    value: rx_data_rate//bps
  states: {}
- name: samp_rate_rx
  id: variable
  parameters:
    value: rx_data_rate_sps*sps_rx
  states: {}
- name: samp_rate_tx
  id: variable
  parameters:
    value: tx_data_rate_sps*sps_tx
  states: {}
- name: sps_rx
  id: variable
  parameters:
    value: '4'
  states: {}
- name: sps_tx
  id: variable
  parameters:
    value: '4'
  states: {}
- name: subframes_decoded
  id: variable_function_probe
  parameters:
    block_id: ccsds_decoder
    function_name: num_subframes_decoded
    poll_rate: '10'
    value: '0'
  states: {}
- name: sync_word
  id: variable
  parameters:
    value: '[0x1a, 0xcf, 0xfc, 0x1d]'
  states: {}
- name: tau
  id: variable
  parameters:
    value: '-1./np.log(1.-1e-3)'
  states: {}
- name: time_offset
  id: variable_qtgui_range
  parameters:
    gui_hint: gui@0:2,2,1,1
    label: Timing Offset
    start: '0.999'
    step: '0.0001'
    stop: '1.001'
    value: '1.00'
  states: {}
- name: tx_data_rate
  id: variable
  parameters:
    value: tx_user_data_rate/R
  states: {}
- name: tx_data_rate_sps
  id: variable
  parameters:
    value: tx_data_rate//bps
  states: {}
- name: variable_function_probe_0_0
  id: variable_function_probe
  parameters:
    block_id: blocks_probe_signal_vx_0_0
    function_name: level
    poll_rate: '0.5'
    value: '0'
  states: {}
- name: variable_qtgui_entry_0_0
  id: variable_qtgui_entry
  parameters:
    gui_hint: gui@0:4,0,1,3
    label: Conv Encoded RS Frames
    type: int
    value: variable_function_probe_0_0
  states: {}
- name: variable_qtgui_label_0
  id: variable_qtgui_label
  parameters:
    gui_hint: gui@2:0,0,1,1
    label: frames sent
    type: raw
    value: frames_sent
  states: {}
- name: variable_qtgui_label_0_1
  id: variable_qtgui_label
  parameters:
    gui_hint: gui@2:1,0,1,1
    label: frames received
    type: raw
    value: frames_received
  states: {}
- name: variable_qtgui_label_0_1_0
  id: variable_qtgui_label
  parameters:
    gui_hint: gui@2:0,1,1,1
    label: frames decoded
    type: raw
    value: frames_decoded
  states: {}
- name: variable_qtgui_label_0_1_0_0
  id: variable_qtgui_label
  parameters:
    gui_hint: gui@2:1,1,1,1
    label: subframes decoded
    type: raw
    value: subframes_decoded
  states: {}
- name: variable_qtgui_label_0_1_1
  id: variable_qtgui_label
  parameters:
    gui_hint: gui@2:0,2,1,1
    label: frames detected minus decoded
    type: raw
    value: frames_received-frames_decoded
  states: {}
- name: variable_qtgui_label_0_1_1_0
  id: variable_qtgui_label
  parameters:
    gui_hint: gui@2:1,2,1,1
    label: fill frames sent minus received
    type: raw
    value: fillframes_sent - fillframes_decoded
  states: {}
- name: variable_qtgui_label_0_1_1_0_0
  id: variable_qtgui_label
  parameters:
    gui_hint: gui@2:2,0,1,1
    label: fill frames sent
    type: raw
    value: fillframes_sent
  states: {}
- name: variable_qtgui_label_0_1_1_0_0_0
  id: variable_qtgui_label
  parameters:
    gui_hint: gui@2:2,1,1,1
    label: fill frames received
    type: raw
    value: fillframes_decoded
  states: {}
- name: variable_qtgui_label_0_1_1_0_1
  id: variable_qtgui_label
  parameters:
    gui_hint: gui@2:2,2,1,1
    label: all frames sent - frames decoded
    type: raw
    value: frames_sent + fillframes_sent - frames_decoded
  states: {}
- name: blocks_char_to_float_0_0_0_0_0
  id: blocks_char_to_float
  parameters:
    scale: '1'
  states: {}
- name: blocks_complex_to_arg_1
  id: blocks_complex_to_arg
  parameters: {}
  states: {}
- name: blocks_complex_to_arg_2
  id: blocks_complex_to_arg
  parameters: {}
  states: {}
- name: blocks_complex_to_mag_squared_0
  id: blocks_complex_to_mag_squared
  parameters: {}
  states: {}
- name: blocks_conjugate_cc_0
  id: blocks_conjugate_cc
  parameters:
    comment: This ought to simulate spectral inversion...
  states: {state: bypassed}
- name: blocks_conjugate_cc_0_0
  id: blocks_conjugate_cc
  parameters: {}
  states: {state: bypassed}
- name: blocks_message_strobe_random_1
  id: blocks_message_strobe_random
  parameters:
    dist: blocks.STROBE_POISSON
    mean: '100'
    msg: pmt.intern("TEST")
  states: {}
- name: blocks_multiply_const_vxx_0
  id: blocks_multiply_const_vxx
  parameters:
    const: 1/pi
    type: float
  states: {}
- name: blocks_multiply_const_vxx_1_0
  id: blocks_multiply_const_vxx
  parameters:
    const: 1.0/pi
    type: float
  states: {}
- name: blocks_multiply_const_vxx_1_0_0
  id: blocks_multiply_const_vxx
  parameters:
    const: '1.0'
    type: float
  states: {}
- name: blocks_multiply_const_vxx_2
  id: blocks_multiply_const_vxx
  parameters:
    comment: Apply a fixed phase offset.
    const: np.exp(1j*phase_offset)
    type: complex
  states: {}
- name: blocks_pack_k_bits_bb_0_0_0
  id: blocks_pack_k_bits_bb
  parameters:
    k: '8'
  states: {}
- name: blocks_pack_k_bits_bb_1
  id: blocks_pack_k_bits_bb
  parameters:
    k: '8'
  states: {state: bypassed}
- name: blocks_probe_signal_vx_0_0
  id: blocks_probe_signal_vx
  parameters:
    type: byte
    vlen: 1279*int(1/R)
  states: {}
- name: blocks_rotator_cc_0
  id: blocks_rotator_cc
  parameters:
    phase_inc: 3.14/160
  states: {state: bypassed}
- name: blocks_skiphead_0
  id: blocks_skiphead
  parameters:
    num_items: int(samp_rate_rx*0.5)
    type: complex
  states: {state: bypassed}
- name: blocks_stream_to_vector_0_0
  id: blocks_stream_to_vector
  parameters:
    num_items: 1279*int(1/R)
    type: byte
  states: {}
- name: blocks_throttle_0
  id: blocks_throttle
  parameters:
    samples_per_second: samp_rate_tx
    type: complex
  states: {}
- name: blocks_throttle_1
  id: blocks_throttle
  parameters:
    samples_per_second: samp_rate_rx
    type: complex
  states: {}
- name: blocks_throttle_1_0
  id: blocks_throttle
  parameters:
    samples_per_second: samp_rate_rx
    type: complex
  states: {}
- name: blocks_unpack_k_bits_bb_0_0_1
  id: blocks_unpack_k_bits_bb
  parameters:
    k: '8'
  states: {}
- name: blocks_vector_source_x_0
  id: blocks_vector_source_x
  parameters:
    repeat: 'False'
    type: complex
    vector: modulated_preamble_untrimmed_nodiff
  states: {}
- name: blocks_vector_source_x_0_0
  id: blocks_vector_source_x
  parameters:
    repeat: 'True'
    type: complex
    vector: modulated_idle_frame_trimmed_nodiff
  states: {}
- name: ccsds_decoder
  id: ccsds_ccsds_decoder
  parameters:
    deinterleave: 'True'
    descramble: 'True'
    dual_basis: 'True'
    n_deinterleave: '5'
    printing: 'False'
    rs_decode: 'True'
    threshold: '4'
    verbose: 'False'
  states: {}
- name: ccsds_diff_decoder_0
  id: ccsds_diff_decoder
  parameters: {}
  states: {state: bypassed}
- name: ccsds_diff_encoder_0
  id: ccsds_diff_encoder
  parameters: {}
  states: {state: bypassed}
- name: ccsds_encapsulate_net_0
  id: ccsds_encapsulate_net
  parameters:
    aggregate: 'False'
    mtu: '1115'
    pad_byte: '0x7E'
    timeout: '100'
  states: {}
- name: ccsds_encoder
  id: ccsds_ccsds_encoder
  parameters:
    asm_tail: 'True'
    dual_basis: 'True'
    idle: 'False'
    idle_block_time: '50'
    interleave: 'True'
    len_tag_key: '"packet_len"'
    n_interleave: '5'
    printing: 'False'
    rs_encode: 'True'
    type: byte
    verbose: 'False'
  states: {}
- name: ccsds_insert_idle_frame
  id: ccsds_insert_idle_frame
  parameters:
    modulated_vector: modulated_idle_frame_trimmed_nodiff
  states: {}
- name: channels_channel_model_0
  id: channels_channel_model
  parameters:
    epsilon: time_offset
    freq_offset: freq_offset
    noise_voltage: noise_volt
    seed: '0'
    taps: '1.0'
  states: {}
- name: digital_constellation_modulator_0
  id: digital_constellation_modulator
  parameters:
    constellation: constel
    differential: 'False'
    excess_bw: eb
    samples_per_symbol: sps_tx
  states: {}
- name: digital_constellation_soft_decoder_cf_0
  id: digital_constellation_soft_decoder_cf
  parameters:
    comment: |-
      Outputs 2 floats for every 
      1 symbol input for QPSK.
    constellation: constel
  states: {}
- name: digital_corr_est_cc_0_0
  id: digital_corr_est_cc
  parameters:
    mark_delay: len(corr_sequence)-1
    sps: '1'
    symbols: corr_sequence_nodiff
    threshold: 0.985*0+0.985
    threshold_method: digital.THRESHOLD_ABSOLUTE
  states: {}
- name: digital_correlate_access_code_tag_xx_0
  id: digital_correlate_access_code_tag_xx
  parameters:
    access_code: '''''.join([bin(x)[2:].zfill(8) for x in sync_word])'
    tagname: syncword
    threshold: '0'
    type: byte
  states: {}
- name: digital_costas_loop_cc_0
  id: digital_costas_loop_cc
  parameters:
    order: arity
    w: phase_bw
  states: {}
- name: digital_costas_loop_cc_0_0
  id: digital_costas_loop_cc
  parameters:
    order: arity
    w: phase_bw*0.1*0
  states: {}
- name: digital_fll_band_edge_cc_0
  id: digital_fll_band_edge_cc
  parameters:
    filter_size: 45*0+55+len(rrc_taps)//2//32*0
    rolloff: eb
    samps_per_sym: sps_rx
    type: cc
    w: 2*3.14/100.0*0+phase_bw
  states: {}
- name: digital_linear_equalizer_0
  id: digital_linear_equalizer
  parameters:
    num_taps: '15'
    sps: '2'
  states: {}
- name: digital_pfb_clock_sync_xxx_0
  id: digital_pfb_clock_sync_xxx
  parameters:
    filter_size: nfilts
    init_phase: nfilts/2
    loop_bw: 6.28/100.0*0+phase_bw
    max_dev: '1.5'
    osps: '2'
    sps: sps_rx
    taps: rrc_taps
    type: ccf
  states: {}
- name: epy_tools
  id: epy_module
  parameters:
    source_code: "\ndef reverse_bits(x):\n    return int(bin(x)[2:][::-1], base=2)\n\n"
  states: {}
- name: fec_extended_decoder_0
  id: fec_extended_decoder
  parameters:
    decoder_list: decoder_variable
    puncpat: '''11'''
    threadtype: capillary
  states: {}
- name: fec_extended_encoder_0
  id: fec_extended_encoder
  parameters:
    encoder_list: encoder_variable
    puncpat: '''11'''
    threadtype: capillary
  states: {}
- name: file_prefix
  id: parameter
  parameters:
    label: File Prefix
    value: expanduser('~')
  states: {}
- name: gui
  id: qtgui_tab_widget
  parameters:
    gui_hint: 0,0,1,4
    label0: FFT
    label1: Constellation
    label2: Statistics
    label3: Fill Frame Debug
    num_tabs: '4'
  states: {}
- name: he2pi_precisiontiming_pt_resampler_0
  id: he2pi_precisiontiming_pt_resampler
  parameters:
    desired_path_length: '32'
    input_sample_rate: int(samp_rate_tx)
    output_sample_rate: int(samp_rate_rx)
  states: {}
- name: idle_frame_shift
  id: parameter
  parameters:
    label: Idle Frame Shift
    type: intx
    value: 22*0
  states: {}
- name: import_0
  id: import
  parameters:
    imports: import numpy as np
  states: {}
- name: import_home
  id: import
  parameters:
    imports: from os.path import expanduser
  states: {}
- name: import_pi
  id: import
  parameters:
    imports: from math import pi
  states: {}
- name: note_0
  id: note
  parameters:
    comment: Import from asm_post_costas.grc
    note: Corr Sequence
  states: {}
- name: note_0_0
  id: note
  parameters:
    comment: Import from idle_frame_encode.grc
    note: Idle Frame
  states: {}
- name: pdu_pdu_to_tagged_stream_0
  id: pdu_pdu_to_tagged_stream
  parameters:
    tag: packet_len
    type: byte
  states: {}
- name: pdu_random_pdu_0
  id: pdu_random_pdu
  parameters:
    length_modulo: '2'
    mask: '0xFF'
    maxsize: (223*5-2)+84*0
    minsize: (223*5-2)+84*0
  states: {}
- name: qtgui_const_sink_x_1
  id: qtgui_const_sink_x
  parameters:
    gui_hint: gui@1:1,2
    name: Phase-Locked RX Constellation
    size: '1024'
    style1: '1'
    type: complex
  states: {}
- name: qtgui_const_sink_x_1_0
  id: qtgui_const_sink_x
  parameters:
    gui_hint: gui@1:1,1
    name: RX Constellation
    size: '1024'
    style1: '1'
    type: complex
  states: {}
- name: qtgui_freq_sink_x_0
  id: qtgui_freq_sink_x
  parameters:
    bw: samp_rate_tx
    fc: '0'
    fftsize: '1024'
    gui_hint: gui@0:0,1,1,2
    name: RX Spectrum
    showports: 'True'
    type: complex
  states: {}
- name: qtgui_time_sink_x_1_0
  id: qtgui_time_sink_x
  parameters:
    grid: 'True'
    gui_hint: gui@3:0,0,1,3
    label1: ''
    label2: ''
    marker1: '0'
    marker2: '0'
    name: Modulated Fill Frame Untrimmed
    size: len(modulated_preamble_untrimmed)
    srate: '1'
    type: complex
  states: {}
- name: qtgui_time_sink_x_1_0_0
  id: qtgui_time_sink_x
  parameters:
    grid: 'True'
    gui_hint: gui@3:1,0,1,3
    label1: ''
    marker1: '0'
    name: Demodulated Fill Frame Untrimmed
    size: len(modulated_preamble_untrimmed)
    srate: '1'
    type: float
  states: {}
- name: qtgui_time_sink_x_1_0_1
  id: qtgui_time_sink_x
  parameters:
    grid: 'True'
    gui_hint: gui@3:2,0,1,3
    label1: ''
    label2: ''
    marker1: '0'
    marker2: '0'
    name: Modulated Fill Frame Trimmed
    size: len(modulated_idle_frame_trimmed_nodiff)
    srate: '1'
    type: complex
  states: {}
- name: qtgui_time_sink_x_2_0
  id: qtgui_time_sink_x
  parameters:
    gui_hint: gui@0:8,0,1,3
    label1: ''
    marker1: '0'
    name: Sync Word Correlation
    size: 1279*8*4
    srate: '1'
    style1: '0'
    type: float
    ymax: '2'
  states: {}
- name: qtgui_time_sink_x_2_0_0
  id: qtgui_time_sink_x
  parameters:
    grid: 'True'
    gui_hint: gui@0:7,0,1,3
    label1: '"Rx Phase"'
    label2: '"|Correlation|^2"'
    name: '"Correlation Outputs"'
    nconnections: '2'
    size: len(modulated_idle_frame_trimmed_nodiff)//bps
    srate: samp_rate_tx
    tr_delay: '0.0005'
    tr_level: '0.5'
    tr_mode: qtgui.TRIG_MODE_TAG
    tr_tag: '"corr_start"'
    type: float
    ymax: '1000'
    ymin: '-1.5'
  states: {}
- name: qtgui_time_sink_x_3
  id: qtgui_time_sink_x
  parameters:
    gui_hint: gui@0:6,0,1,3
    label1: ''
    label2: ''
    name: '"Modulated Data + Filler Packets"'
    size: 1279*int(1/R)*8*sps_tx//bps
    srate: '1'
    type: complex
  states: {}
- name: qtgui_time_sink_x_3_0
  id: qtgui_time_sink_x
  parameters:
    gui_hint: gui@0:5,0,1,3
    label1: ''
    label2: ''
    name: '"Modulated Data Packets"'
    size: 1279*2*8*2//2
    srate: '1'
    type: complex
  states: {}
- name: rx_user_data_rate
  id: parameter
  parameters:
    label: RX Data Rate
    short_id: r
    type: intx
    value: '250000'
  states: {}
- name: satellites_rms_agc_0
  id: satellites_rms_agc
  parameters:
    alpha: '1e-3'
    reference: '0.5'
  states: {}
- name: tx_user_data_rate
  id: parameter
  parameters:
    label: TX Data Rate
    short_id: t
    type: intx
    value: '250000'
  states: {}
- name: virtual_sink_0
  id: virtual_sink
  parameters:
    stream_id: channel_out
  states: {}
- name: virtual_sink_0_0
  id: virtual_sink
  parameters:
    stream_id: channel_in
  states: {}
- name: virtual_source_0
  id: virtual_source
  parameters:
    stream_id: channel_out
  states: {}
- name: virtual_source_0_0
  id: virtual_source
  parameters:
    stream_id: channel_in
  states: {}

connections:
- [blocks_char_to_float_0_0_0_0_0, '0', qtgui_time_sink_x_2_0, '0']
- [blocks_complex_to_arg_1, '0', blocks_multiply_const_vxx_1_0, '0']
- [blocks_complex_to_arg_2, '0', blocks_multiply_const_vxx_0, '0']
- [blocks_complex_to_mag_squared_0, '0', blocks_multiply_const_vxx_1_0_0, '0']
- [blocks_conjugate_cc_0, '0', blocks_conjugate_cc_0_0, '0']
- [blocks_conjugate_cc_0_0, '0', blocks_skiphead_0, '0']
- [blocks_multiply_const_vxx_0, '0', qtgui_time_sink_x_1_0_0, '0']
- [blocks_multiply_const_vxx_1_0, '0', qtgui_time_sink_x_2_0_0, '0']
- [blocks_multiply_const_vxx_1_0_0, '0', qtgui_time_sink_x_2_0_0, '1']
- [blocks_multiply_const_vxx_2, '0', virtual_sink_0, '0']
- [blocks_pack_k_bits_bb_0_0_0, '0', blocks_stream_to_vector_0_0, '0']
- [blocks_pack_k_bits_bb_0_0_0, '0', digital_constellation_modulator_0, '0']
- [blocks_pack_k_bits_bb_1, '0', blocks_char_to_float_0_0_0_0_0, '0']
- [blocks_rotator_cc_0, '0', blocks_conjugate_cc_0, '0']
- [blocks_skiphead_0, '0', blocks_throttle_0, '0']
- [blocks_stream_to_vector_0_0, '0', blocks_probe_signal_vx_0_0, '0']
- [blocks_throttle_0, '0', blocks_multiply_const_vxx_2, '0']
- [blocks_throttle_0, '0', qtgui_freq_sink_x_0, '0']
- [blocks_throttle_1, '0', blocks_complex_to_arg_2, '0']
- [blocks_throttle_1, '0', qtgui_time_sink_x_1_0, '0']
- [blocks_throttle_1_0, '0', qtgui_time_sink_x_1_0_1, '0']
- [blocks_unpack_k_bits_bb_0_0_1, '0', ccsds_diff_encoder_0, '0']
- [blocks_vector_source_x_0, '0', blocks_throttle_1, '0']
- [blocks_vector_source_x_0_0, '0', blocks_throttle_1_0, '0']
- [ccsds_diff_decoder_0, '0', ccsds_decoder, '0']
- [ccsds_diff_decoder_0, '0', digital_correlate_access_code_tag_xx_0, '0']
- [ccsds_diff_encoder_0, '0', fec_extended_encoder_0, '0']
- [ccsds_encapsulate_net_0, '0', pdu_pdu_to_tagged_stream_0, pdus]
- [ccsds_encoder, '0', blocks_unpack_k_bits_bb_0_0_1, '0']
- [ccsds_insert_idle_frame, '0', qtgui_time_sink_x_3, '0']
- [ccsds_insert_idle_frame, '0', virtual_sink_0_0, '0']
- [channels_channel_model_0, '0', blocks_rotator_cc_0, '0']
- [digital_constellation_modulator_0, '0', ccsds_insert_idle_frame, '0']
- [digital_constellation_modulator_0, '0', qtgui_time_sink_x_3_0, '0']
- [digital_constellation_soft_decoder_cf_0, '0', fec_extended_decoder_0, '0']
- [digital_corr_est_cc_0_0, '0', blocks_complex_to_arg_1, '0']
- [digital_corr_est_cc_0_0, '0', digital_costas_loop_cc_0_0, '0']
- [digital_corr_est_cc_0_0, '1', blocks_complex_to_mag_squared_0, '0']
- [digital_correlate_access_code_tag_xx_0, '0', blocks_pack_k_bits_bb_1, '0']
- [digital_costas_loop_cc_0, '0', digital_corr_est_cc_0_0, '0']
- [digital_costas_loop_cc_0_0, '0', digital_constellation_soft_decoder_cf_0, '0']
- [digital_costas_loop_cc_0_0, '0', qtgui_const_sink_x_1, '0']
- [digital_fll_band_edge_cc_0, '0', digital_pfb_clock_sync_xxx_0, '0']
- [digital_linear_equalizer_0, '0', digital_costas_loop_cc_0, '0']
- [digital_linear_equalizer_0, '0', qtgui_const_sink_x_1_0, '0']
- [digital_pfb_clock_sync_xxx_0, '0', digital_linear_equalizer_0, '0']
- [fec_extended_decoder_0, '0', ccsds_diff_decoder_0, '0']
- [fec_extended_encoder_0, '0', blocks_pack_k_bits_bb_0_0_0, '0']
- [he2pi_precisiontiming_pt_resampler_0, '0', digital_fll_band_edge_cc_0, '0']
- [pdu_pdu_to_tagged_stream_0, '0', ccsds_encoder, '0']
- [pdu_random_pdu_0, pdus, ccsds_encapsulate_net_0, '0']
- [satellites_rms_agc_0, '0', he2pi_precisiontiming_pt_resampler_0, '0']
- [virtual_source_0, '0', satellites_rms_agc_0, '0']
- [virtual_source_0_0, '0', channels_channel_model_0, '0']

metadata:
  file_format: 1
  grc_version: v3.11.0.0git-201-g5dcccd7e
